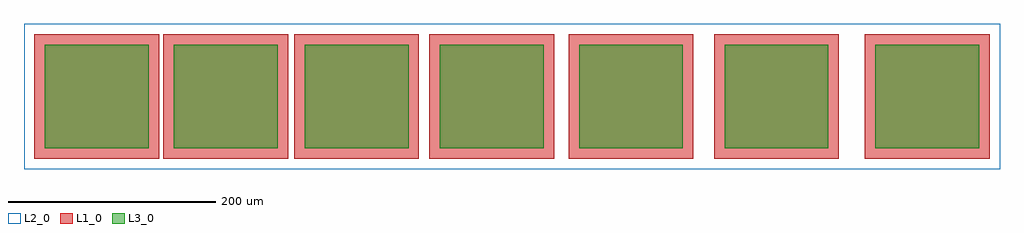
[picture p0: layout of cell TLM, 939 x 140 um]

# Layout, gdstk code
import gdstk
lib = gdstk.Library(unit=1e-6, precision=1e-09)
def R(c, l, rs):  # rectangles x0, y0, x1, y1
    for r in rs: c.add(gdstk.rectangle(r[:2], r[2:], *l))
L1_0 = (1, 0)
L2_0 = (2, 0)
L3_0 = (3, 0)

tlm = lib.new_cell('TLM')
R(tlm, L1_0, [(10,-60,130,60), (134,-60,254,60), (260,-60,380,60), (390,-60,510,60), (524,-60,644,60), (664,-60,784,60), (809,-60,929,60)])
R(tlm, L2_0, [(0,-70,939,70)])
R(tlm, L3_0, [(20,-50,120,50), (144,-50,244,50), (270,-50,370,50), (400,-50,500,50), (534,-50,634,50), (674,-50,774,50), (819,-50,919,50)])

lib.write_gds('TLM.gds')
